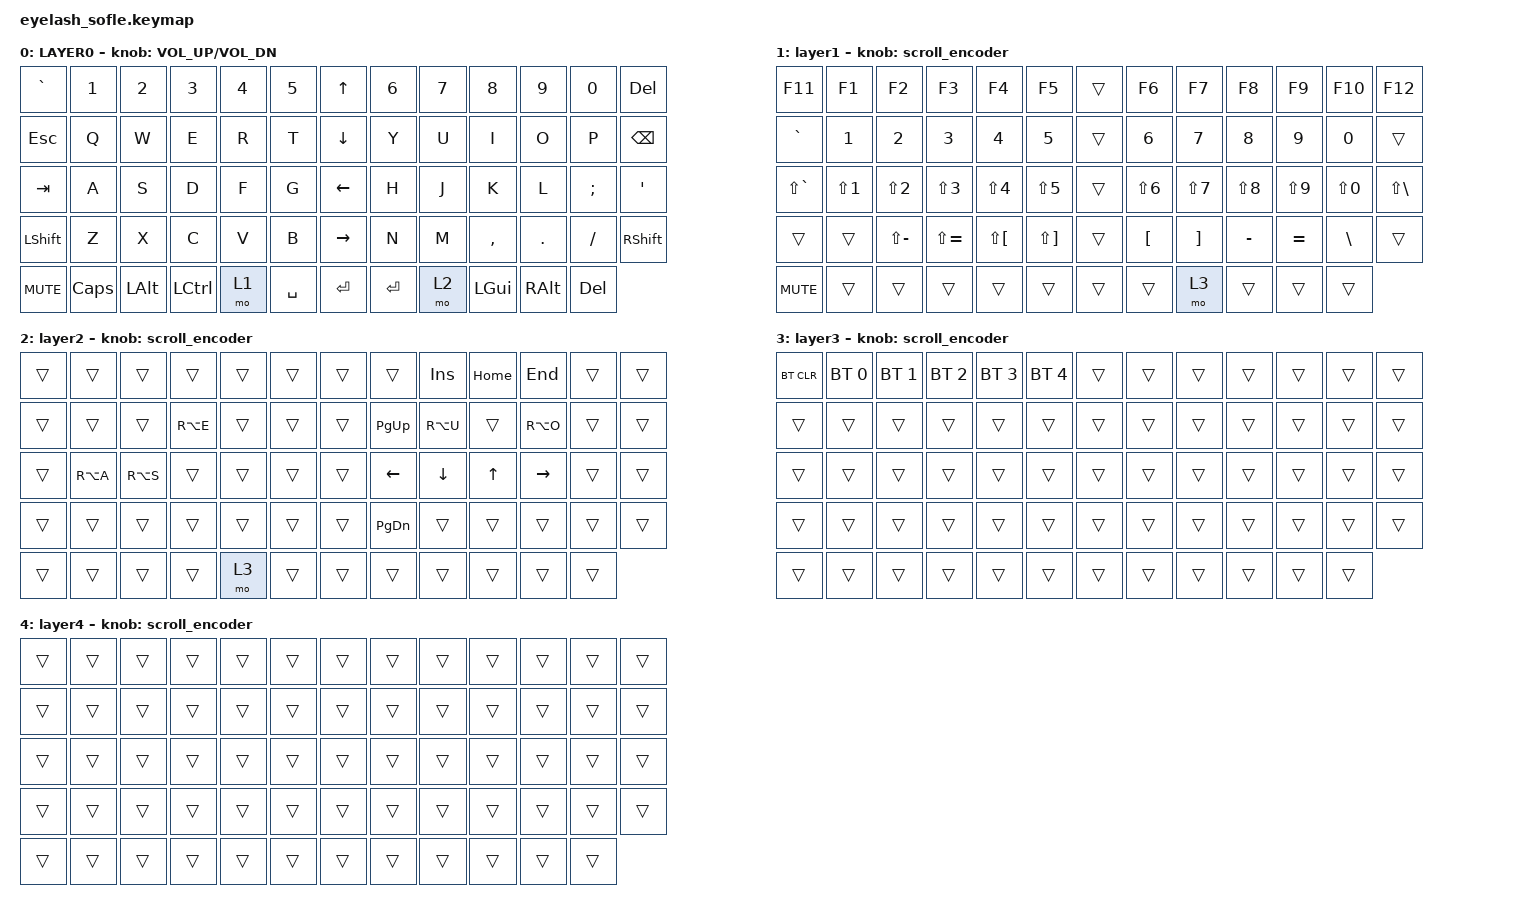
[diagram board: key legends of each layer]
#define ZMK_POINTING_DEFAULT_MOVE_VAL 1200  // 600
#define ZMK_POINTING_DEFAULT_SCRL_VAL 25   // 10

#include <input/processors.dtsi>
#include <zephyr/dt-bindings/input/input-event-codes.h>
#include <behaviors.dtsi>
#include <dt-bindings/zmk/bt.h>
#include <dt-bindings/zmk/keys.h>
#include <dt-bindings/zmk/outputs.h>
#include <dt-bindings/zmk/pointing.h>
#include <dt-bindings/zmk/rgb.h>

&mmv_input_listener { input-processors = <&zip_xy_scaler 2 1>; };

&msc_input_listener { input-processors = <&zip_scroll_scaler 2 1>; };

&msc {
    acceleration-exponent = <1>;      // 0
    time-to-max-speed-ms = <100>;       // 300
    delay-ms = <0>;                   // 0
};

&mmv {
    time-to-max-speed-ms = <500>;
    acceleration-exponent = <1>;
    trigger-period-ms = <16>;
};

&soft_off { hold-time-ms = <2000>; };

/ {
    scroll_encoder: scroll_encoder {
        compatible = "zmk,behavior-sensor-rotate";
        #sensor-binding-cells = <0>;
        bindings = <&msc SCRL_DOWN>, <&msc SCRL_UP>;

        tap-ms = <100>;
    };

    combos {
        compatible = "zmk,combos";

        softoff {
            bindings = <&soft_off>;
            key-positions = <14 28 40>;
        };
    };


    keymap {
        compatible = "zmk,keymap";
/* Offiziellen Keymap-Codes: https://zmk.dev/docs/keymaps/list-of-keycodes */
        layer0 {
            bindings = <
&kp GRAVE   &kp N1     &kp N2        &kp N3        &kp N4  &kp N5       &kp UP_ARROW     &kp N6     &kp N7     &kp N8        &kp N9           &kp N0      &kp DELETE
&kp ESC     &kp Q      &kp W         &kp E         &kp R   &kp T        &kp DOWN_ARROW   &kp Y      &kp U      &kp I         &kp O            &kp P       &kp BACKSPACE
&kp TAB     &kp A      &kp S         &kp D         &kp F   &kp G        &kp LEFT_ARROW   &kp H      &kp J      &kp K         &kp L            &kp SEMI    &kp APOS
&kp LSHFT   &kp Z      &kp X         &kp C         &kp V   &kp B        &kp RIGHT_ARROW  &kp N      &kp M      &kp COMMA     &kp DOT          &kp FSLH    &kp RSHIFT
&kp C_MUTE  &kp CAPS   &kp LALT      &kp LCTRL     &mo 1   &kp SPACE    &kp ENTER        &kp ENTER  &mo 2      &kp LGUI      &kp RALT         &kp DELETE
            >;

            sensor-bindings = <&inc_dec_kp C_VOLUME_UP C_VOL_DN>;
            display-name = "LAYER0";
        };

        layer_1 {
            bindings = <
&kp F11           &kp F1           &kp F2          &kp F3           &kp F4           &kp F5             &trans        &kp F6           &kp F7           &kp F8      &kp F9     &kp F10           &kp F12 
&kp GRAVE         &kp N1           &kp N2          &kp N3           &kp N4           &kp N5             &trans        &kp N6           &kp N7           &kp N8      &kp N9     &kp N0            &trans
&kp LS(GRAVE)     &kp LS(N1)       &kp LS(N2)      &kp LS(N3)       &kp LS(N4)       &kp LS(N5)         &trans        &kp LS(N6)       &kp LS(N7)       &kp LS(N8)  &kp LS(N9) &kp LS(N0)        &kp LS(BSLH)
&trans            &trans           &kp LS(MINUS)   &kp LS(EQUAL)    &kp LS(LBKT)     &kp LS(RBKT)       &trans        &kp LBKT         &kp RBKT         &kp MINUS   &kp EQUAL  &kp BSLH          &trans
&kp C_MUTE        &trans           &trans          &trans           &trans           &trans             &trans        &trans           &mo 3            &trans      &trans     &trans
            >;

            display-name = "layer1";
            sensor-bindings = <&scroll_encoder>;
        };

        layer_2 {
            bindings = <
&trans     &trans        &trans          &trans         &trans        &trans          &trans            &trans        &kp INS       &kp HOME    &kp END         &trans       &trans
&trans     &trans        &trans          &kp RA(E)      &trans        &trans          &trans            &kp PG_UP     &kp RA(U)     &trans      &kp RA(O)       &trans       &trans
&trans     &kp RA(A)     &kp RA(S)       &trans         &trans        &trans          &trans            &kp LEFT      &kp DOWN      &kp UP      &kp RIGHT       &trans       &trans
&trans     &trans        &trans          &trans         &trans        &trans          &trans            &kp PG_DN     &trans        &trans      &trans          &trans       &trans
&trans     &trans        &trans          &trans         &mo 3         &trans          &trans            &trans        &trans        &trans      &trans          &trans
            >;

            display-name = "layer2";
            sensor-bindings = <&scroll_encoder>;
        };

        layer_3 {
            bindings = <
&bt BT_CLR      &bt BT_SEL 0  &bt BT_SEL 1  &bt BT_SEL 2  &bt BT_SEL 3  &bt BT_SEL 4  &trans  &trans          &trans          &trans        &trans            &trans      &trans
&trans          &trans        &trans        &trans        &trans        &trans        &trans  &trans          &trans          &trans        &trans            &trans      &trans
&trans          &trans        &trans        &trans        &trans        &trans        &trans  &trans          &trans          &trans        &trans            &trans      &trans
&trans          &trans        &trans        &trans        &trans        &trans        &trans  &trans          &trans          &trans        &trans            &trans      &trans
&trans          &trans        &trans        &trans        &trans        &trans        &trans  &trans          &trans          &trans        &trans            &trans
            >;

            display-name = "layer3";
            sensor-bindings = <&scroll_encoder>;
        };

        layer_4 {
            bindings = <
&trans  &trans  &trans  &trans  &trans  &trans    &trans  &trans  &trans  &trans  &trans  &trans  &trans
&trans  &trans  &trans  &trans  &trans  &trans    &trans  &trans  &trans  &trans  &trans  &trans  &trans
&trans  &trans  &trans  &trans  &trans  &trans    &trans  &trans  &trans  &trans  &trans  &trans  &trans
&trans  &trans  &trans  &trans  &trans  &trans    &trans  &trans  &trans  &trans  &trans  &trans  &trans
&trans  &trans  &trans  &trans  &trans  &trans    &trans  &trans  &trans  &trans  &trans  &trans
            >;
         display-name = "layer4";
            sensor-bindings = <&scroll_encoder>;
        };
    };
};
